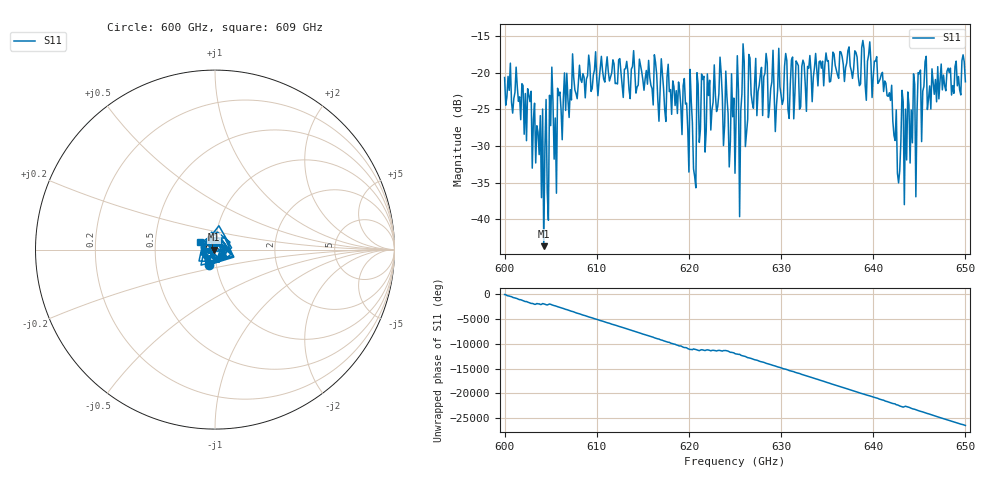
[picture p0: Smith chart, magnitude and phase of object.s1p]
!Created with skrf (http://scikit-rf.org).
# GHz S MA R 50.0
!freq magS11 angS11
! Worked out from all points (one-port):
!   401 points, 600 GHz to 650 GHz, reference 50 ohm
!   lowest |S11| = -43.7 dB at 604.2 GHz (marker M1), VSWR 1.01, Z = 49.3 + j0.0146 ohm
!   |S11| at or under -10 dB: start of sweep to end of sweep
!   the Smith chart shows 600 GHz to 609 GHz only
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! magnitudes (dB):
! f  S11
! 600 GHz  -20.7
! 602.6 GHz  -23.0
! 604.2 GHz  -43.7
! 604.5 GHz  -23.7
! 605.1 GHz  -19.2
! 605.5 GHz  -26.2
! 606.2 GHz  -29.1
! 608.4 GHz  -21.3
! 612.5 GHz  -18.1
! 618.8 GHz  -25.6
! 619.6 GHz  -24.3
! 620.4 GHz  -26.8
! 620.5 GHz  -33.1
! 621.1 GHz  -29.5
! 623.4 GHz  -17.9
! 624.5 GHz  -29.4
! 625 GHz  -33.7
! 625.2 GHz  -17.7
! 625.9 GHz  -16.1
! 628.2 GHz  -20.1
! 631.2 GHz  -17.9
! 637.5 GHz  -19.1
! 641.1 GHz  -22.6
! 641.9 GHz  -23.8
! 642.6 GHz  -33.7
! 643.8 GHz  -22.6
! 645.6 GHz  -18.5
! 650 GHz  -21.2
